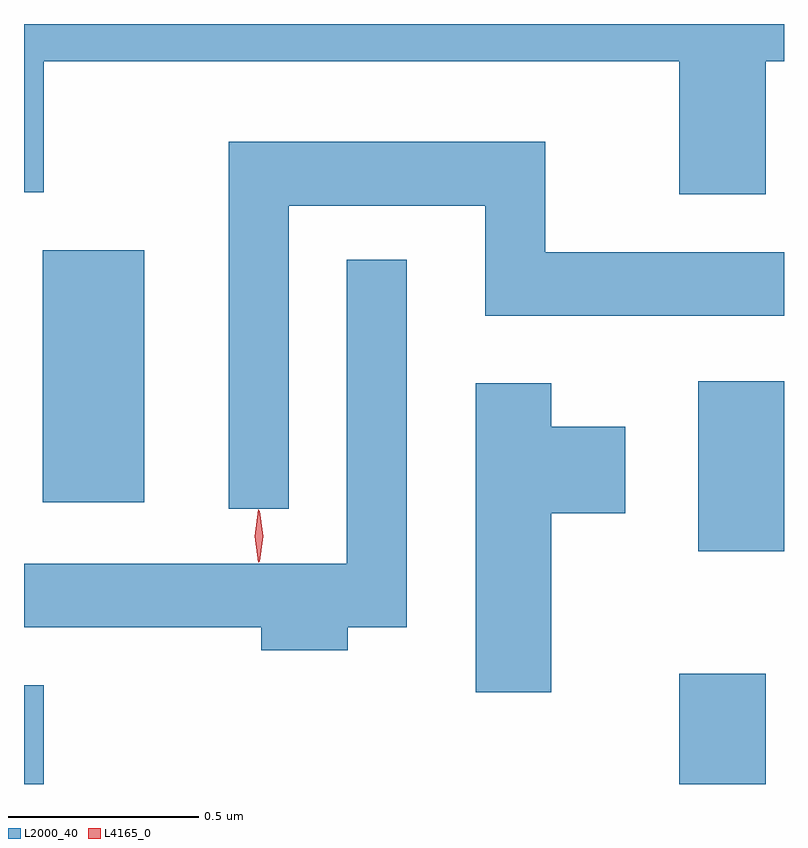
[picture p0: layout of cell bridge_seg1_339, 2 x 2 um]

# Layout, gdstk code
import gdstk
lib = gdstk.Library(unit=1e-6, precision=1e-09)
def R(c, l, rs):  # rectangles x0, y0, x1, y1
    for r in rs: c.add(gdstk.rectangle(r[:2], r[2:], *l))
def P(c, l, *ps):  # polygons
    for p in ps: c.add(gdstk.Polygon(p, *l))
L2000_40 = (2000, 40)
L4165_0 = (4165, 0)

bridge_seg1_339 = lib.new_cell('bridge_seg1_339')
R(bridge_seg1_339, L2000_40, [(929.687,877.694,929.739,877.954), (931.411,877.694,931.639,877.984), (931.461,878.306,931.687,878.754), (929.736,878.436,930.004,879.099)])
P(bridge_seg1_339, L2000_40, [(931.639,879.596),(931.687,879.596),(931.687,879.694),(929.687,879.694),(929.687,879.251),(929.739,879.251),(929.739,879.596),(931.411,879.596),(931.411,879.246),(931.639,879.246)],
  [(930.384,879.216),(930.901,879.216),(930.901,878.926),(931.687,878.926),(931.687,879.094),(931.059,879.094),(931.059,879.384),(930.226,879.384),(930.226,878.418),(930.384,878.418)],
  [(930.539,878.106),(930.694,878.106),(930.694,879.073),(930.536,879.073),(930.536,878.274),(929.687,878.274),(929.687,878.106),(930.311,878.106),(930.311,878.046),(930.539,878.046)],
  [(931.074,878.406),(931.269,878.406),(931.269,878.634),(931.074,878.634),(931.074,878.749),(930.876,878.749),(930.876,877.936),(931.074,877.936)])
P(bridge_seg1_339, L4165_0, [(930.307,878.279),(930.306,878.28),(930.297,878.346),(930.306,878.412),(930.306,878.413),(930.307,878.412),(930.317,878.346),(930.307,878.28)],
  [(930.304,878.277),(930.304,878.277),(930.294,878.346),(930.304,878.416),(930.304,878.416),(930.305,878.416),(930.314,878.346),(930.305,878.277)])

lib.write_gds('bridge_seg1_339.gds')
